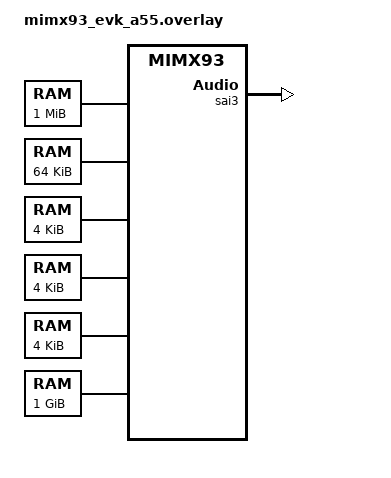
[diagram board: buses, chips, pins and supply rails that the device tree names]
/*
 * Copyright 2023 NXP
 *
 * SPDX-License-Identifier: Apache-2.0
 */

/ {
	/delete-node/ memory@c0000000;
	/* Inmate memory, reserved through "mem=1248MB" boot argument,
	 * starts at 0xce000000.
	 */
	sram0: memory@ce000000 {
		reg = <0xce000000 DT_SIZE_M(1)>;
	};

	/* TODO: all of the nodes below are needed by SOF and should
	 * be removed once all drivers used by SOF have been moved
	 * to Zephyr.
	 *
	 * They are added in the DTS for the sake of not using hardcoded
	 * values in mmu_regions.c
	 */
	mu2_a: memory@42430000 {
		reg = <0x42430000 DT_SIZE_K(64)>;
	};

	outbox: memory@ce100000 {
		reg = <0xce100000 DT_SIZE_K(4)>;
	};

	inbox: memory@ce101000 {
		reg = <0xce101000 DT_SIZE_K(4)>;
	};

	stream: memory@ce102000 {
		reg = <0xce102000 DT_SIZE_K(4)>;
	};

	/* TODO: this is extremely bad and it's needed here because of
	 * the fact that the DMA buffer shared by host and FW is situated
	 * in this region. For now, it's easier to create a mapping for the
	 * whole region but in the future a mapping should only be created
	 * for the physical address of the buffer sent to the FW through an
	 * IPC.
	 */
	host_ram: memory@80000000 {
		reg = <0x80000000 DT_SIZE_M(1024)>;
	};

	sai3: dai@42660000 {
		compatible = "nxp,dai-sai";
		reg = <0x42660000 DT_SIZE_K(64)>;
		mclk-is-output;
		clocks = <&ccm IMX_CCM_SAI3_CLK 0x0 0x0>;
		clock-names = "mclk1";
		/* set to a period's worth of data (384B) so the SAI will
		 * request a DMA transfer every 1ms (which is the period size)
		 */
		rx-fifo-watermark = <96>;
		/* set to 1 because we want to avoid multiple DMA transfer requests
		 * when the SAI is started. This way, the SAI will request data every
		 * 1ms (which is the period size).
		 */
		tx-fifo-watermark = <8>;
		/* can't let SOF use the actual FIFO depth (128 FIFO words) because
		 * the DMA transfer size isn't divizible by it so the driver would
		 * return an error. As such, set the FIFO depth to a period's worth
		 * of data (384B).
		 */
		fifo-depth = <96>;
		interrupt-parent = <&gic>;
		interrupts = <GIC_SPI 171 IRQ_TYPE_LEVEL IRQ_DEFAULT_PRIORITY>;
		dai-index = <3>;
	};

	edma4: dma@42000000 {
		compatible = "nxp,imx-edma";
		reg = <0x42000000 (DT_SIZE_K(64) * 32)>;
		valid-channels = <0>, <1>;
		interrupt-parent = <&gic>;
		interrupts = <GIC_SPI 128 IRQ_TYPE_LEVEL IRQ_DEFAULT_PRIORITY>,
			<GIC_SPI 128 IRQ_TYPE_LEVEL IRQ_DEFAULT_PRIORITY>;
		#dma-cells = <0>;
		hal-cfg-index = <1>;
	};

	host_dma: dma {
		compatible = "nxp,sof-host-dma";
		dma-channels = <32>;
		#dma-cells = <0>;
	};
};
